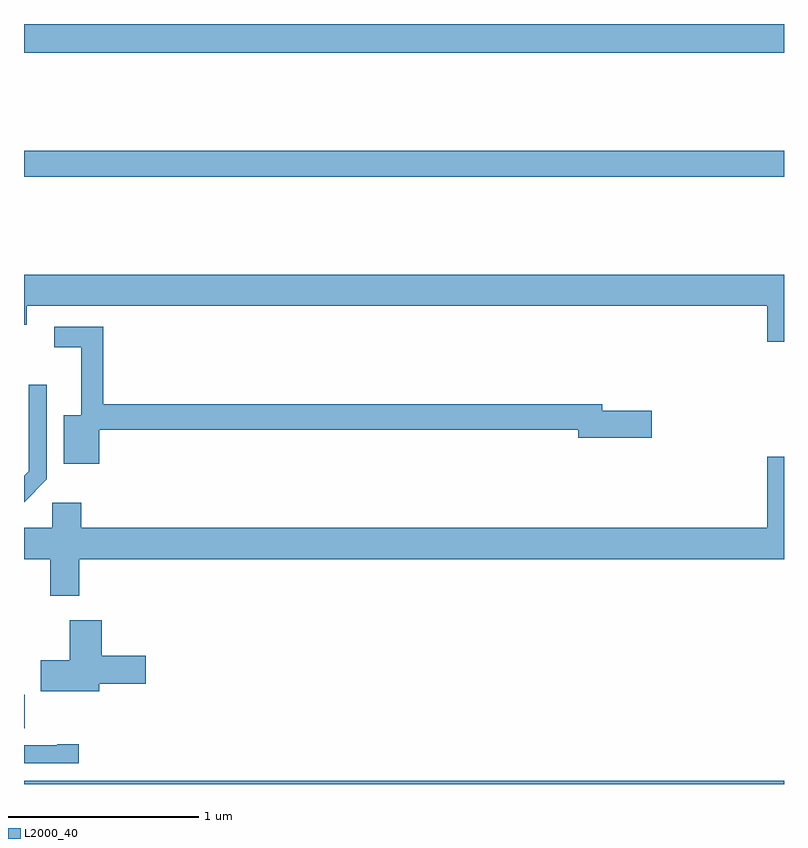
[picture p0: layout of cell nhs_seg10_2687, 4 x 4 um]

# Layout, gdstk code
import gdstk
lib = gdstk.Library(unit=1e-6, precision=1e-09)
def R(c, l, rs):  # rectangles x0, y0, x1, y1
    for r in rs: c.add(gdstk.rectangle(r[:2], r[2:], *l))
def P(c, l, *ps):  # polygons
    for p in ps: c.add(gdstk.Polygon(p, *l))
L2000_40 = (2000, 40)

nhs_seg10_2687 = lib.new_cell('nhs_seg10_2687')
R(nhs_seg10_2687, L2000_40, [(257,1264.5,261,1264.516), (257,1264.793,257.005,1264.969), (257,1267.696,261,1267.832), (257,1268.348,261,1268.5)])
P(nhs_seg10_2687, L2000_40, [(261,1267.18),(257,1267.18),(257,1266.918),(257.014,1266.918),(257.014,1267.016),(260.912,1267.016),(260.912,1266.828),(261,1266.828)],
  [(257.397,1266.364),(259.916,1266.364),(259.916,1266.322),(260.305,1266.322),(260.305,1266.464),(260.044,1266.464),(260.044,1266.5),(257.417,1266.5),(257.417,1266.906),(257.16,1266.906),(257.16,1266.798),(257.3,1266.798),(257.3,1266.442),(257.21,1266.442),(257.21,1266.185),(257.397,1266.185)],
  [(257.121,1266.105),(257.121,1266.601),(257.025,1266.601),(257.025,1266.147),(257,1266.122),(257,1265.984)],
  [(257.291,1265.684),(261,1265.684),(261,1266.223),(260.912,1266.223),(260.912,1265.848),(257.3,1265.848),(257.3,1265.98),(257.148,1265.98),(257.148,1265.848),(257,1265.848),(257,1265.684),(257.138,1265.684),(257.138,1265.49),(257.291,1265.49)],
  [(257.395,1265.027),(257.641,1265.027),(257.641,1265.174),(257.408,1265.174),(257.408,1265.362),(257.24,1265.362),(257.24,1265.151),(257.088,1265.151),(257.088,1264.988),(257.395,1264.988)],
  [(257.287,1264.709),(257.174,1264.709),(257.174,1264.704),(257,1264.704),(257,1264.608),(257.287,1264.608)])

lib.write_gds('nhs_seg10_2687.gds')
